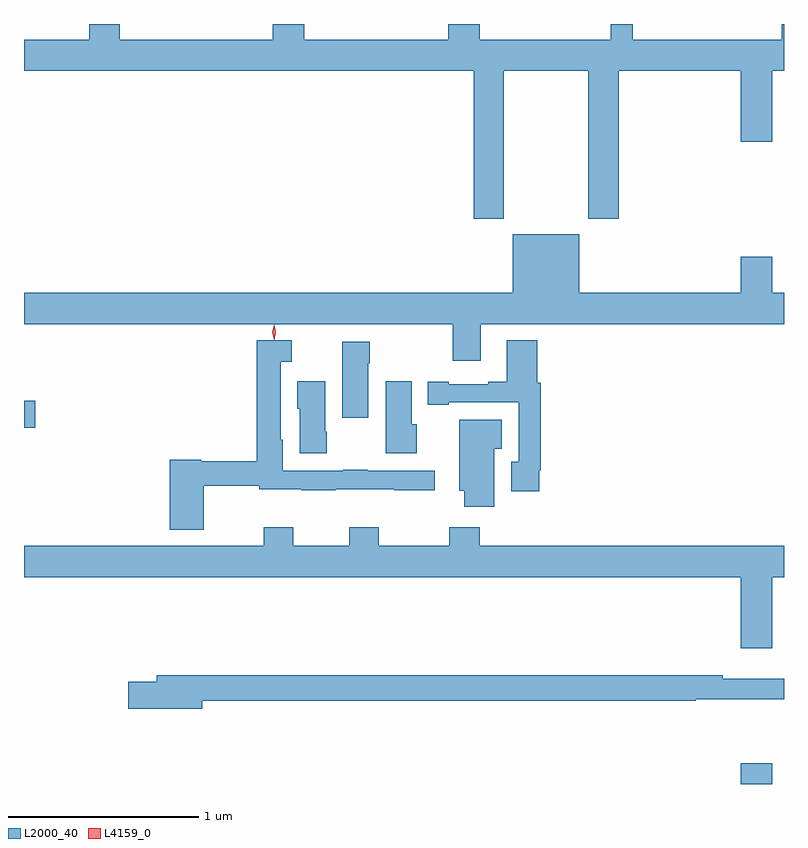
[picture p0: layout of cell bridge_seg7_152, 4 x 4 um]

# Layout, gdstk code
import gdstk
lib = gdstk.Library(unit=1e-6, precision=1e-09)
def R(c, l, rs):  # rectangles x0, y0, x1, y1
    for r in rs: c.add(gdstk.rectangle(r[:2], r[2:], *l))
def P(c, l, *ps):  # polygons
    for p in ps: c.add(gdstk.Polygon(p, *l))
L2000_40 = (2000, 40)
L4159_0 = (4159, 0)

bridge_seg7_152 = lib.new_cell('bridge_seg7_152')
R(bridge_seg7_152, L2000_40, [(536.636,1064.795,536.8,1064.905), (532.863,1066.67,532.921,1066.812)])
P(bridge_seg7_152, L2000_40, [(535.389,1068.548),(535.834,1068.548),(535.834,1067.769),(535.994,1067.769),(535.994,1068.548),(536.636,1068.548),(536.636,1068.174),(536.8,1068.174),(536.8,1068.548),(536.863,1068.548),(536.863,1068.795),(536.852,1068.795),(536.852,1068.712),(536.067,1068.712),(536.067,1068.795),(535.951,1068.795),(535.951,1068.712),(535.262,1068.712),(535.262,1068.795),(535.097,1068.795),(535.097,1068.712),(534.338,1068.712),(534.338,1068.795),(534.173,1068.795),(534.173,1068.712),(533.366,1068.712),(533.366,1068.795),(533.206,1068.795),(533.206,1068.712),(532.863,1068.712),(532.863,1068.548),(535.229,1068.548),(535.229,1067.769),(535.389,1067.769)],
  [(535.267,1067.216),(536.863,1067.216),(536.863,1067.38),(536.8,1067.38),(536.8,1067.569),(536.636,1067.569),(536.636,1067.38),(535.786,1067.38),(535.786,1067.689),(535.436,1067.689),(535.436,1067.38),(532.863,1067.38),(532.863,1067.216),(535.12,1067.216),(535.12,1067.022),(535.267,1067.022)],
  [(533.808,1066.365),(534.101,1066.365),(534.101,1066.346),(534.322,1066.346),(534.322,1066.342),(534.505,1066.342),(534.505,1066.346),(534.811,1066.346),(534.811,1066.342),(535.024,1066.342),(535.024,1066.443),(534.671,1066.443),(534.671,1066.448),(534.544,1066.448),(534.544,1066.443),(534.226,1066.443),(534.226,1066.608),(534.214,1066.608),(534.214,1067.018),(534.271,1067.018),(534.271,1067.131),(534.089,1067.131),(534.089,1066.493),(533.796,1066.493),(533.796,1066.501),(533.63,1066.501),(533.63,1066.134),(533.808,1066.134)],
  [(535.576,1066.447),(535.583,1066.447),(535.583,1066.906),(535.564,1066.906),(535.564,1067.131),(535.403,1067.131),(535.403,1066.912),(535.307,1066.912),(535.307,1066.899),(535.099,1066.899),(535.099,1066.912),(534.989,1066.912),(534.989,1066.791),(535.099,1066.791),(535.099,1066.803),(535.467,1066.803),(535.467,1066.491),(535.427,1066.491),(535.427,1066.335),(535.576,1066.335)],
  [(534.676,1067.009),(534.684,1067.009),(534.684,1067.122),(534.539,1067.122),(534.539,1066.722),(534.676,1066.722)],
  [(534.931,1066.689),(534.904,1066.689),(534.904,1066.915),(534.767,1066.915),(534.767,1066.535),(534.931,1066.535)],
  [(534.456,1066.648),(534.448,1066.648),(534.448,1066.915),(534.302,1066.915),(534.302,1066.77),(534.314,1066.77),(534.314,1066.536),(534.456,1066.536)],
  [(535.339,1066.559),(535.378,1066.559),(535.378,1066.711),(535.154,1066.711),(535.154,1066.338),(535.181,1066.338),(535.181,1066.254),(535.339,1066.254)],
  [(536.8,1065.884),(536.863,1065.884),(536.863,1066.048),(535.262,1066.048),(535.262,1066.147),(535.102,1066.147),(535.102,1066.048),(534.729,1066.048),(534.729,1066.147),(534.574,1066.147),(534.574,1066.048),(534.279,1066.048),(534.279,1066.147),(534.124,1066.147),(534.124,1066.048),(532.863,1066.048),(532.863,1065.884),(536.636,1065.884),(536.636,1065.51),(536.8,1065.51)],
  [(533.8,1065.232),(536.398,1065.232),(536.398,1065.24),(536.863,1065.24),(536.863,1065.349),(536.54,1065.349),(536.54,1065.368),(533.561,1065.368),(533.561,1065.332),(533.412,1065.332),(533.412,1065.19),(533.8,1065.19)])
P(bridge_seg7_152, L4159_0, [(534.179,1067.131),(534.179,1067.131),(534.169,1067.172),(534.179,1067.213),(534.179,1067.213),(534.18,1067.213),(534.189,1067.172),(534.18,1067.131)])

lib.write_gds('bridge_seg7_152.gds')
